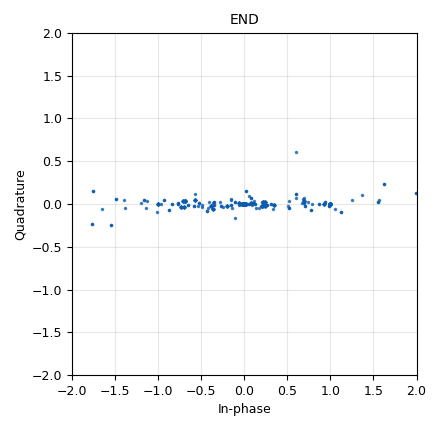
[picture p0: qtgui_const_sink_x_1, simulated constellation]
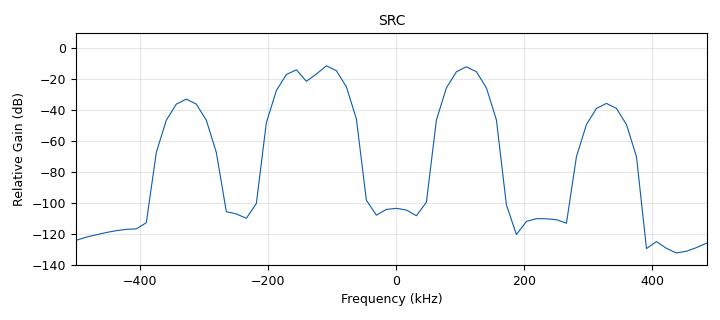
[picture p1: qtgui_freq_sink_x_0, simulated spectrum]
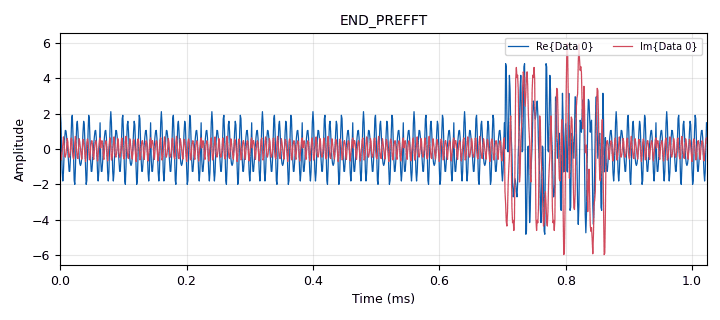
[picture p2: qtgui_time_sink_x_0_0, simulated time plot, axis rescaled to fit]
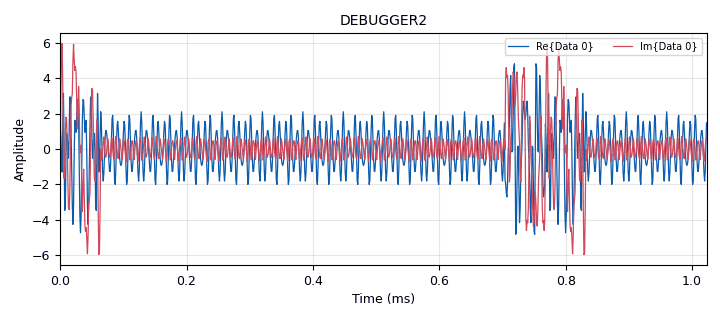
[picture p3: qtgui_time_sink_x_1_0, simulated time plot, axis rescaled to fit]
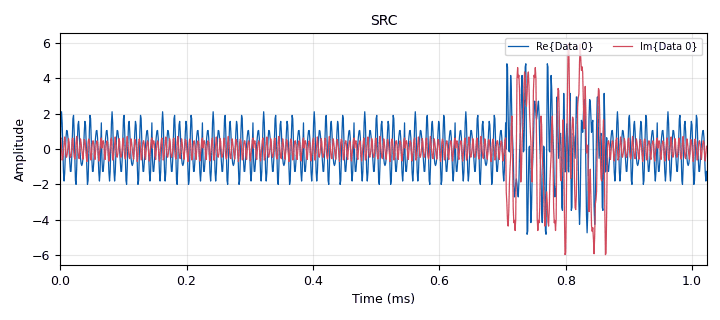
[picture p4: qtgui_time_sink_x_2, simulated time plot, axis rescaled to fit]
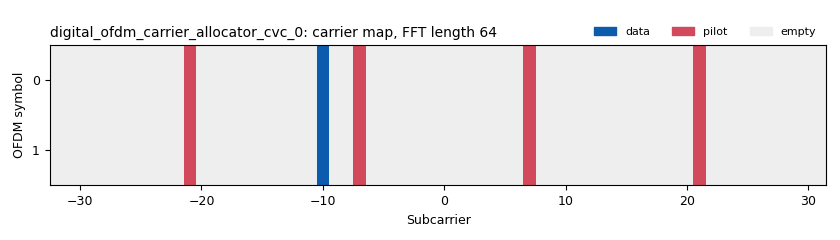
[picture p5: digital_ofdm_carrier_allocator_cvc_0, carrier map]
options:
  parameters:
    author: Carter Moore
    description: Receiver for channel state estimation test
    generate_options: qt_gui
    id: rx
    output_language: python
    title: Reciever_CSI
  states: {}

blocks:
- name: channel0_bandwidth
  id: variable
  parameters:
    value: samp_rate
  states: {}
- name: cp_len
  id: variable
  parameters:
    value: fft_len//4
  states: {}
- name: delay
  id: variable_qtgui_range
  parameters:
    rangeType: int
    start: '0'
    step: '1'
    stop: '100'
    value: '0'
  states: {}
- name: fft_len
  id: variable
  parameters:
    value: '64'
  states: {}
- name: lo_offset
  id: variable
  parameters:
    value: 1e6
  states: {}
- name: matched_filter_taps
  id: variable
  parameters:
    value: np.conjugate(np.fromfile("/home/moore/Documents/School/capstone/Over-the-Air-Computation-for-Federated-Learning/Utils/zc_seq_N1023_u25_q0.bin", dtype=np.complex64))
  states: {}
- name: phase
  id: variable_qtgui_range
  parameters:
    start: '0'
    step: '0.01'
    stop: 2*pi
    value: '0'
  states: {}
- name: reverse
  id: variable
  parameters:
    value: np.conjugate([0.5, -0.5, -1, 1])
  states: {}
- name: samp_rate
  id: variable
  parameters:
    value: 1e6
  states: {}
- name: sync_word1
  id: variable
  parameters:
    value: '[0., 0., 0., 0., 0., 0., 0., 1.41421356, 0., -1.41421356, 0., 1.41421356, 0., -1.41421356, 0., -1.41421356, 0., -1.41421356, 0., 1.41421356, 0., -1.41421356, 0., 1.41421356, 0., -1.41421356, 0., -1.41421356, 0., -1.41421356, 0., -1.41421356, 0., 1.41421356, 0., -1.41421356, 0., 1.41421356, 0., 1.41421356, 0., 1.41421356, 0., -1.41421356, 0., 1.41421356, 0., 1.41421356, 0., 1.41421356, 0., -1.41421356, 0., 1.41421356, 0., 1.41421356, 0., 1.41421356, 0., 0., 0., 0., 0., 0.]'
  states: {}
- name: sync_word2
  id: variable
  parameters:
    value: '[0j, 0j, 0j, 0j, 0j, 0j, (-1+0j), (-1+0j), (-1+0j), (-1+0j), (1+0j), (1+0j), (-1+0j), (-1+0j), (-1+0j), (1+0j), (-1+0j), (1+0j), (1+0j), (1 +0j), (1+0j), (1+0j), (-1+0j), (-1+0j), (-1+0j), (-1+0j), (-1+0j), (1+0j), (-1+0j), (-1+0j), (1+0j), (-1+0j), 0j, (1+0j), (-1+0j), (1+0j), (1+0j), (1+0j), (-1+0j), (1+0j), (1+0j), (1+0j), (-1+0j), (1+0j), (1+0j), (1+0j), (1+0j), (-1+0j), (1+0j), (-1+0j), (-1+0j), (-1+0j), (1+0j), (-1+0j), (1+0j), (-1+0j), (-1+0j), (-1+0j), (-1+0j), 0j, 0j, 0j, 0j, 0j]'
  states: {}
- name: target_freq
  id: variable
  parameters:
    value: 2.45e9
  states: {}
- name: test_src
  id: variable
  parameters:
    value: '[1,1,1,1,1,-1,-1,1,1,-1,1,-1,1] + [0.5]*50 + [0]*1000'
  states: {state: disabled}
- name: test_src
  id: variable
  parameters:
    value: matched_filter_taps
  states: {state: disabled}
- name: test_src
  id: variable
  parameters:
    value: '[1+0j] * 10'
  states: {}
- name: test_src_E
  id: variable
  parameters:
    value: 13 * 1 + (0.5 **2) * 50 + 0 * 100
  states: {}
- name: test_src_len
  id: variable
  parameters:
    value: len(test_src)
  states: {}
- name: usrp_select
  id: variable
  parameters:
    value: '0'
  states: {}
- name: variable_0
  id: variable
  parameters:
    value: len(sync_word1)
  states: {}
- name: analog_const_source_x_0
  id: analog_const_source_x
  parameters:
    const: '1'
    type: complex
  states: {state: disabled}
- name: analog_frequency_modulator_fc_0
  id: analog_frequency_modulator_fc
  parameters:
    sensitivity: '-2.0 / fft_len'
  states: {}
- name: blocks_burst_tagger_0
  id: blocks_burst_tagger
  parameters:
    false_key: ''
    false_value: 'False'
    true_key: packet_len
    true_value: 'True'
    type: complex
  states: {state: disabled}
- name: blocks_char_to_float_0
  id: blocks_char_to_float
  parameters:
    scale: '1'
  states: {state: disabled}
- name: blocks_char_to_short_0
  id: blocks_char_to_short
  parameters: {}
  states: {state: disabled}
- name: blocks_complex_to_mag_0
  id: blocks_complex_to_mag
  parameters:
    vlen: fft_len
  states: {}
- name: blocks_delay_0
  id: blocks_delay
  parameters:
    delay: delay
    type: complex
  states: {}
- name: blocks_keep_m_in_n_0
  id: blocks_keep_m_in_n
  parameters:
    m: fft_len
    n: fft_len + cp_len
    offset: cp_len
    type: complex
  states: {}
- name: blocks_multiply_const_vxx_0
  id: blocks_multiply_const_vxx
  parameters:
    const: cmath.exp(1j * phase)
    type: complex
  states: {}
- name: blocks_multiply_xx_0
  id: blocks_multiply_xx
  parameters:
    type: complex
  states: {}
- name: blocks_null_sink_0
  id: blocks_null_sink
  parameters:
    type: float
  states: {state: disabled}
- name: blocks_null_sink_1
  id: blocks_null_sink
  parameters:
    type: complex
  states: {}
- name: blocks_null_sink_2
  id: blocks_null_sink
  parameters:
    type: float
    vlen: fft_len
  states: {}
- name: blocks_plateau_detector_fb_0
  id: blocks_plateau_detector_fb
  parameters:
    threshold: '0.9'
  states: {state: disabled}
- name: blocks_sample_and_hold_xx_0
  id: blocks_sample_and_hold_xx
  parameters:
    type: float
  states: {}
- name: blocks_stream_to_tagged_stream_0
  id: blocks_stream_to_tagged_stream
  parameters:
    len_tag_key: '"packet_len"'
    packet_len: '10'
    type: complex
  states: {}
- name: blocks_stream_to_vector_0
  id: blocks_stream_to_vector
  parameters:
    num_items: fft_len
    type: complex
  states: {}
- name: blocks_throttle2_0
  id: blocks_throttle2
  parameters:
    samples_per_second: samp_rate
    type: complex
  states: {}
- name: blocks_throttle2_1
  id: blocks_throttle2
  parameters:
    samples_per_second: samp_rate
    type: complex
  states: {}
- name: blocks_vector_source_x_2
  id: blocks_vector_source_x
  parameters:
    repeat: 'True'
    type: complex
    vector: test_src
  states: {}
- name: blocks_vector_to_stream_0
  id: blocks_vector_to_stream
  parameters:
    num_items: fft_len
    type: complex
  states: {}
- name: blocks_vector_to_stream_1
  id: blocks_vector_to_stream
  parameters:
    num_items: fft_len
    type: complex
  states: {state: disabled}
- name: digital_ofdm_carrier_allocator_cvc_0
  id: digital_ofdm_carrier_allocator_cvc
  parameters:
    fft_len: fft_len
    len_tag_key: '"packet_len"'
    occupied_carriers: ((-10,),)
    output_is_shifted: 'True'
    pilot_carriers: ((-21, -7, 7, 21),)
    pilot_symbols: ((1, 1, 1, -1),)
    sync_words: '[sync_word1,sync_word2]'
  states: {}
- name: digital_ofdm_cyclic_prefixer_0
  id: digital_ofdm_cyclic_prefixer
  parameters:
    cp_len: int(cp_len)
    input_size: fft_len
    tagname: '"packet_len"'
  states: {}
- name: digital_ofdm_sync_sc_cfb_0
  id: digital_ofdm_sync_sc_cfb
  parameters:
    cp_len: int(cp_len)
    fft_len: fft_len
    threshold: '0.8'
  states: {}
- name: epy_block_0
  id: epy_block
  parameters:
    _source_code: |
      import numpy as np
      from gnuradio import gr
      import pmt

      class blk(gr.sync_block):
          def __init__(self, sync_tag="ofdm_sync_found", len_tag="packet_len", packet_len=960):
              # packet_len = (FFT_Len + CP_Len) * Num_Symbols
              # e.g. (64 + 16) * 12 = 960
              gr.sync_block.__init__(self,
                  name='Add Length Tag',
                  in_sig=[np.complex64],
                  out_sig=[np.complex64])
              self.sync_tag = sync_tag
              self.len_tag = len_tag
              self.packet_len = packet_len

          def work(self, input_items, output_items):
              in0 = input_items[0]
              out = output_items[0]

              # 1. Pass data through unchanged
              out[:] = in0

              # 2. Read existing tags
              tags = self.get_tags_in_window(0, 0, len(in0))
              
              # 3. Look for Sync tag and add Length tag
              for tag in tags:
                  key = pmt.to_python(tag.key)
                  if key == self.sync_tag:
                      # We found the sync! Add the length tag at the same offset.
                      self.add_item_tag(0, 
                                        tag.offset, 
                                        pmt.intern(self.len_tag), 
                                        pmt.from_long(self.packet_len))

              return len(out)
    len_tag: None
    packet_len: '960'
    sync_tag: None
  states: {}
- name: epy_block_1
  id: epy_block
  parameters:
    _source_code: |
      import numpy as np
      from gnuradio import gr

      class ofdm_ls_equalizer(gr.sync_block):
          """
          LS Equalizer for OFDM AirComp.
          Assumes: 
            - Input is a vector of FFT_len (frequency domain symbols)
            - FFT Shift = YES (DC is in the middle)
          """
          def __init__(self, fft_len=64, cp_len=16, 
                       pilot_carriers=((-21, -7, 7, 21),), 
                       pilot_symbols=((1, 1, 1, -1),)):
              
              gr.sync_block.__init__(self,
                  name='OFDM LS Equalizer',
                  in_sig=[(np.complex64, fft_len)],
                  out_sig=[(np.complex64, fft_len)])

              self.fft_len = fft_len
              
              # Parse pilot config (handle tuple-of-tuples if necessary)
              if isinstance(pilot_carriers[0], (tuple, list)):
                  self.pilot_carriers = pilot_carriers[0]
              else:
                  self.pilot_carriers = pilot_carriers
                  
              if isinstance(pilot_symbols[0], (tuple, list)):
                  self.pilot_symbols = pilot_symbols[0]
              else:
                  self.pilot_symbols = pilot_symbols

              # Pre-calculate pilot indices assuming FFT Shift = Yes
              # Index = Carrier + FFT_Len/2
              self.pilot_indices = [int(c + self.fft_len/2) for c in self.pilot_carriers]
              
              # Ideal pilot symbols array
              self.pilots_ideal = np.array(self.pilot_symbols, dtype=np.complex64)

          def work(self, input_items, output_items):
              in0 = input_items[0]
              out = output_items[0]
              
              n_items = len(in0)
              
              # Iterate over each OFDM symbol in the buffer
              for i in range(n_items):
                  symbol_freq = in0[i]
                  
                  # 1. Extract received pilots
                  pilots_rx = symbol_freq[self.pilot_indices]
                  
                  # 2. Estimate Channel (H_est) at pilot locations
                  # H = Rx / Tx. Avoid divide by zero just in case.
                  h_est = np.divide(pilots_rx, self.pilots_ideal, 
                                    out=np.zeros_like(pilots_rx), 
                                    where=self.pilots_ideal!=0)
                  
                  # 3. Interpolate H across all subcarriers
                  # We use np.interp for the magnitude and phase separately 
                  # or real/imag separately to estimate the channel for data carriers.
                  # Simple linear interpolation:
                  all_indices = np.arange(self.fft_len)
                  
                  # Interpolate Real and Imag parts of the Channel Estimate
                  h_real = np.interp(all_indices, self.pilot_indices, h_est.real)
                  h_imag = np.interp(all_indices, self.pilot_indices, h_est.imag)
                  h_interpolated = h_real + 1j*h_imag
                  
                  # 4. Equalize
                  # Rx_equalized = Rx_raw / H_est
                  # Add small epsilon to avoid divide by zero
                  out[i] = np.divide(symbol_freq, h_interpolated, 
                                     out=np.zeros_like(symbol_freq), 
                                     where=np.abs(h_interpolated) > 1e-9)
                  
              return n_items
    cp_len: cp_len
    fft_len: fft_len
    pilot_carriers: ((-21, -7, 7, 21),)
    pilot_symbols: ((1, 1, 1, -1),)
  states: {}
- name: fft_vxx_0
  id: fft_vxx
  parameters:
    fft_size: fft_len
    forward: 'False'
    shift: 'True'
    type: complex
    window: window.blackmanharris(fft_len)
  states: {}
- name: fft_vxx_0_0
  id: fft_vxx
  parameters:
    fft_size: fft_len
    forward: 'True'
    shift: 'True'
    type: complex
    window: window.blackmanharris(fft_len)
  states: {}
- name: import_0
  id: import
  parameters:
    imports: import numpy as np
  states: {}
- name: import_1
  id: import
  parameters:
    imports: from gnuradio.filter import firdes
  states: {}
- name: import_1_0
  id: import
  parameters:
    imports: from math import pi as pi
  states: {}
- name: import_2
  id: import
  parameters:
    imports: import cmath
  states: {}
- name: pdu_pdu_to_tagged_stream_0
  id: pdu_pdu_to_tagged_stream
  parameters:
    tag: packet_len
    type: complex
  states: {}
- name: pdu_tagged_stream_to_pdu_0
  id: pdu_tagged_stream_to_pdu
  parameters:
    tag: packet_len
    type: complex
  states: {}
- name: qtgui_const_sink_x_0
  id: qtgui_const_sink_x
  parameters:
    grid: 'True'
    name: '"PRE_IFFT"'
    size: '1024'
    type: complex
  states: {state: disabled}
- name: qtgui_const_sink_x_0_0
  id: qtgui_const_sink_x
  parameters:
    grid: 'True'
    name: '"POST_IFFT"'
    size: '1024'
    type: complex
  states: {state: disabled}
- name: qtgui_const_sink_x_1
  id: qtgui_const_sink_x
  parameters:
    name: '"END"'
    size: '1024'
    type: complex
  states: {}
- name: qtgui_freq_sink_x_0
  id: qtgui_freq_sink_x
  parameters:
    bw: samp_rate
    fc: '0'
    fftsize: '64'
    name: '"SRC"'
    type: complex
  states: {}
- name: qtgui_freq_sink_x_1
  id: qtgui_freq_sink_x
  parameters:
    bw: samp_rate
    fc: '0'
    fftsize: '64'
    name: '"END"'
    type: complex
  states: {state: disabled}
- name: qtgui_freq_sink_x_2
  id: qtgui_freq_sink_x
  parameters:
    bw: samp_rate
    fc: '0'
    fftsize: '1024'
    type: complex
  states: {state: disabled}
- name: qtgui_freq_sink_x_2_0
  id: qtgui_freq_sink_x
  parameters:
    bw: samp_rate
    fc: '0'
    fftsize: '1024'
    type: complex
  states: {state: disabled}
- name: qtgui_time_sink_x_0
  id: qtgui_time_sink_x
  parameters:
    name: '"END"'
    size: '1024'
    srate: samp_rate
    type: complex
  states: {state: disabled}
- name: qtgui_time_sink_x_0_0
  id: qtgui_time_sink_x
  parameters:
    name: '"END_PREFFT"'
    size: '1024'
    srate: samp_rate
    type: complex
  states: {}
- name: qtgui_time_sink_x_1
  id: qtgui_time_sink_x
  parameters:
    name: '"DEBUGGER"'
    size: '1024'
    srate: samp_rate
    type: complex
  states: {}
- name: qtgui_time_sink_x_1_0
  id: qtgui_time_sink_x
  parameters:
    name: '"DEBUGGER2"'
    size: '1024'
    srate: samp_rate
    type: complex
  states: {}
- name: qtgui_time_sink_x_2
  id: qtgui_time_sink_x
  parameters:
    name: '"SRC"'
    size: '1024'
    srate: samp_rate
    tr_level: '0.5'
    tr_mode: qtgui.TRIG_MODE_AUTO
    type: complex
  states: {}
- name: qtgui_vector_sink_f_0_0
  id: qtgui_vector_sink_f
  parameters:
    autoscale: 'True'
    grid: 'True'
    vlen: fft_len
    x_start: '0'
    x_step: '1.0'
  states: {}
- name: uhd_usrp_sink_0
  id: uhd_usrp_sink
  parameters:
    ant0: '"TX/RX"'
    bw0: channel0_bandwidth
    center_freq0: uhd.tune_request(target_freq, lo_offset)
    dev_addr: '"addr=192.168.110.2"'
    gain0: '20'
    samp_rate: samp_rate
    sd_spec0: B:0
    sync: sync
    type: fc32
  states: {state: disabled}
- name: uhd_usrp_source_0
  id: uhd_usrp_source
  parameters:
    ant0: '"TX/RX"'
    bw0: channel0_bandwidth
    center_freq0: uhd.tune_request(target_freq, lo_offset)
    clock_source0: internal
    dev_addr: '"addr=192.168.10.2"'
    gain0: '30'
    samp_rate: samp_rate
    sd_spec0: B:0
    sync: sync
    type: fc32
  states: {state: disabled}
- name: virtual_sink_0
  id: virtual_sink
  parameters:
    stream_id: USRP_CHAN
  states: {}
- name: virtual_source_0
  id: virtual_source
  parameters:
    stream_id: USRP_CHAN
  states: {}

connections:
- [analog_const_source_x_0, '0', blocks_throttle2_1, '0']
- [analog_frequency_modulator_fc_0, '0', blocks_multiply_xx_0, '0']
- [analog_frequency_modulator_fc_0, '0', qtgui_freq_sink_x_2_0, '0']
- [analog_frequency_modulator_fc_0, '0', qtgui_time_sink_x_1, '0']
- [blocks_burst_tagger_0, '0', pdu_tagged_stream_to_pdu_0, '0']
- [blocks_char_to_float_0, '0', blocks_null_sink_0, '0']
- [blocks_char_to_short_0, '0', blocks_burst_tagger_0, '1']
- [blocks_complex_to_mag_0, '0', blocks_null_sink_2, '0']
- [blocks_complex_to_mag_0, '0', qtgui_vector_sink_f_0_0, '0']
- [blocks_delay_0, '0', blocks_multiply_xx_0, '1']
- [blocks_keep_m_in_n_0, '0', blocks_multiply_const_vxx_0, '0']
- [blocks_keep_m_in_n_0, '0', qtgui_time_sink_x_1_0, '0']
- [blocks_multiply_const_vxx_0, '0', blocks_stream_to_vector_0, '0']
- [blocks_multiply_xx_0, '0', blocks_burst_tagger_0, '0']
- [blocks_multiply_xx_0, '0', epy_block_0, '0']
- [blocks_multiply_xx_0, '0', qtgui_time_sink_x_0_0, '0']
- [blocks_sample_and_hold_xx_0, '0', analog_frequency_modulator_fc_0, '0']
- [blocks_stream_to_tagged_stream_0, '0', digital_ofdm_carrier_allocator_cvc_0, '0']
- [blocks_stream_to_tagged_stream_0, '0', qtgui_const_sink_x_0, '0']
- [blocks_stream_to_vector_0, '0', fft_vxx_0_0, '0']
- [blocks_throttle2_0, '0', blocks_delay_0, '0']
- [blocks_throttle2_0, '0', digital_ofdm_sync_sc_cfb_0, '0']
- [blocks_throttle2_0, '0', qtgui_freq_sink_x_2, '0']
- [blocks_throttle2_0, '0', qtgui_time_sink_x_2, '0']
- [blocks_throttle2_1, '0', blocks_stream_to_tagged_stream_0, '0']
- [blocks_vector_source_x_2, '0', blocks_throttle2_1, '0']
- [blocks_vector_to_stream_0, '0', blocks_null_sink_1, '0']
- [blocks_vector_to_stream_0, '0', qtgui_const_sink_x_1, '0']
- [blocks_vector_to_stream_0, '0', qtgui_freq_sink_x_1, '0']
- [blocks_vector_to_stream_0, '0', qtgui_time_sink_x_0, '0']
- [blocks_vector_to_stream_1, '0', qtgui_const_sink_x_0_0, '0']
- [blocks_vector_to_stream_1, '0', virtual_sink_0, '0']
- [digital_ofdm_carrier_allocator_cvc_0, '0', fft_vxx_0, '0']
- [digital_ofdm_cyclic_prefixer_0, '0', qtgui_freq_sink_x_0, '0']
- [digital_ofdm_cyclic_prefixer_0, '0', virtual_sink_0, '0']
- [digital_ofdm_sync_sc_cfb_0, '0', blocks_sample_and_hold_xx_0, '0']
- [digital_ofdm_sync_sc_cfb_0, '1', blocks_char_to_float_0, '0']
- [digital_ofdm_sync_sc_cfb_0, '1', blocks_char_to_short_0, '0']
- [digital_ofdm_sync_sc_cfb_0, '1', blocks_sample_and_hold_xx_0, '1']
- [epy_block_0, '0', pdu_tagged_stream_to_pdu_0, '0']
- [epy_block_1, '0', blocks_complex_to_mag_0, '0']
- [epy_block_1, '0', blocks_vector_to_stream_0, '0']
- [fft_vxx_0, '0', blocks_vector_to_stream_1, '0']
- [fft_vxx_0, '0', digital_ofdm_cyclic_prefixer_0, '0']
- [fft_vxx_0_0, '0', epy_block_1, '0']
- [pdu_pdu_to_tagged_stream_0, '0', blocks_keep_m_in_n_0, '0']
- [pdu_tagged_stream_to_pdu_0, pdus, pdu_pdu_to_tagged_stream_0, pdus]
- [virtual_source_0, '0', blocks_throttle2_0, '0']

metadata:
  file_format: 1
  grc_version: 3.10.9.2
